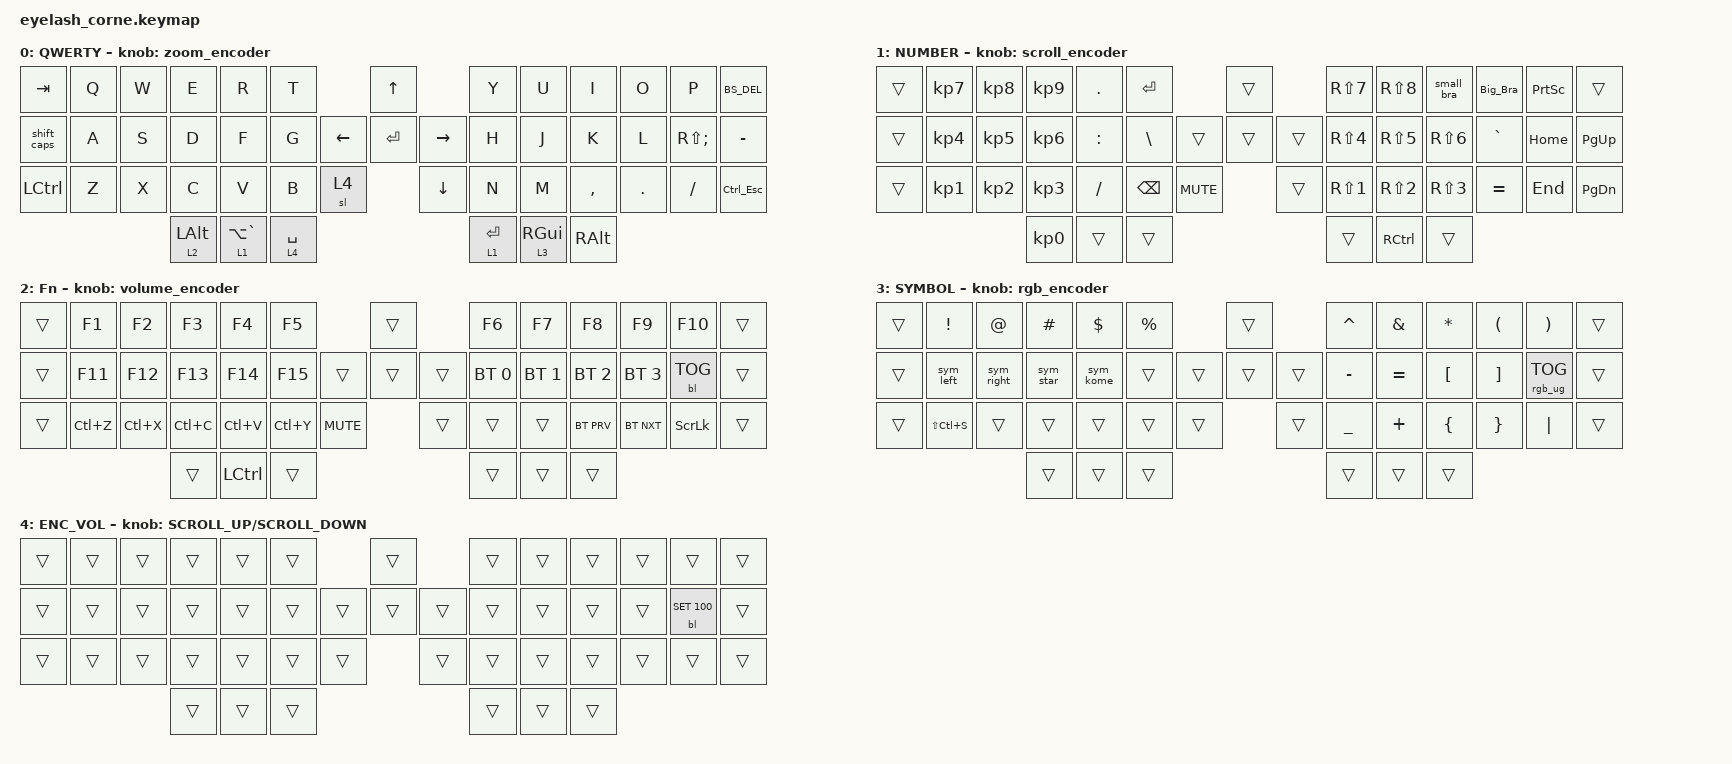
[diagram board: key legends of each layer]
#define ZMK_POINTING_DEFAULT_MOVE_VAL 1200  // 600
#define ZMK_POINTING_DEFAULT_SCRL_VAL 25    // 10

#include <input/processors.dtsi>
#include <zephyr/dt-bindings/input/input-event-codes.h>
#include <behaviors.dtsi>
#include <dt-bindings/zmk/backlight.h>
#include <dt-bindings/zmk/bt.h>
#include <dt-bindings/zmk/keys.h>
#include <dt-bindings/zmk/pointing.h>
#include <dt-bindings/zmk/rgb.h>

&mmv_input_listener { input-processors = <&zip_xy_scaler 2 1>; };

&msc_input_listener { input-processors = <&zip_scroll_scaler 2 1>; };

&msc {
    acceleration-exponent = <1>;
    time-to-max-speed-ms = <100>;
    delay-ms = <0>;
};

&mmv {
    time-to-max-speed-ms = <500>;
    acceleration-exponent = <1>;
    trigger-period-ms = <16>;
};

&soft_off { hold-time-ms = <2000>; };

/ {
    behaviors {
        sym_left: sym_left {
            compatible = "zmk,behavior-macro";
            #binding-cells = <0>;
            wait-ms = <30>;
            tap-ms = <30>;
            bindings
                = <&kp H &kp D &kp Y>
                , <&kp SPACE>
                , <&kp ENTER>;
        };

        sym_right: sym_right {
            compatible = "zmk,behavior-macro";
            #binding-cells = <0>;
            wait-ms = <30>;
            tap-ms = <30>;
            bindings
                = <&kp M &kp G &kp Y>
                , <&kp SPACE>
                , <&kp ENTER>;
        };

        sym_kome: sym_kome {
            compatible = "zmk,behavior-macro";
            #binding-cells = <0>;
            wait-ms = <30>;
            tap-ms = <30>;
            bindings
                = <&kp K &kp M &kp J>
                , <&kp SPACE>
                , <&kp ENTER>;
        };
    
        sym_star: sym_star {
            compatible = "zmk,behavior-macro";
            #binding-cells = <0>;
            wait-ms = <30>;
            tap-ms = <30>;
            bindings
                = <&kp K &kp B &kp S>
                , <&kp SPACE>
                , <&kp ENTER>;
        };

        sym_white_star: sym_white_star {
            compatible = "zmk,behavior-macro";
            #binding-cells = <0>;
            wait-ms = <30>;
            tap-ms = <30>;
            bindings
                = <&kp S &kp B &kp S>
                , <&kp SPACE>
                , <&kp ENTER>;
        };

        sym_white_circle: sym_white_circle {
            compatible = "zmk,behavior-macro";
            #binding-cells = <0>;
            wait-ms = <30>;
            tap-ms = <30>;
            bindings
                = <&kp I &kp M &kp R>
                , <&kp SPACE>
                , <&kp ENTER>;
        };

        sym_double_circle: sym_double_circle {
            compatible = "zmk,behavior-macro";
            #binding-cells = <0>;
            wait-ms = <30>;
            tap-ms = <30>;
            bindings
                = <&kp N &kp M &kp R>
                , <&kp SPACE>
                , <&kp ENTER>;
        };

        sym_black_circle: sym_black_circle {
            compatible = "zmk,behavior-macro";
            #binding-cells = <0>;
            wait-ms = <30>;
            tap-ms = <30>;
            bindings
                = <&kp K &kp M &kp R>
                , <&kp SPACE>
                , <&kp ENTER>;
        };
        shift_caps: shift_caps {
            compatible = "zmk,behavior-tap-dance";
            display-name = "Shift/Caps Lock Tap Dance";
            #binding-cells = <0>;
            bindings = <&kp LEFT_SHIFT>, <&kp CAPS>;

            label = "SHIFT_CAPS";
        };

        zoom_in: zoom_in {
            compatible = "zmk,behavior-macro";
            #binding-cells = <0>;
            bindings = <&kp LC(EQUAL)>;
        };

        zoom_out: zoom_out {
            compatible = "zmk,behavior-macro";
            #binding-cells = <0>;
            bindings = <&kp LC(MINUS)>;
        };

        small_bra: small_bra {
            compatible = "zmk,behavior-macro";
            #binding-cells = <0>;
            bindings = <&kp LEFT_PARENTHESIS &kp RIGHT_PARENTHESIS &kp LEFT>;
            label = "SMALL_BRA";
        };

        Big_Bra: Big_Bra {
            compatible = "zmk,behavior-macro";
            #binding-cells = <0>;
            bindings = <&kp LEFT_BRACKET &kp RIGHT_BRACKET &kp LEFT_ARROW>;
            label = "BIG_BRA";
        };

        zoom_encoder: zoom_encoder {
            compatible = "zmk,behavior-sensor-rotate";
            #sensor-binding-cells = <0>;
            bindings = <&zoom_in>, <&zoom_out>;

            tap-ms = <5>;
        };

        scroll_encoder: scroll_encoder {
            compatible = "zmk,behavior-sensor-rotate";
            #sensor-binding-cells = <0>;
            bindings = <&msc SCRL_UP>, <&msc SCRL_DOWN>;

            tap-ms = <100>;
        };

        volume_encoder: volume_encoder {
            compatible = "zmk,behavior-sensor-rotate";
            #sensor-binding-cells = <0>;
            bindings = <&kp C_VOLUME_UP>, <&kp C_VOL_DN>;

            tap-ms = <5>;
        };

        rgb_encoder: rgb_encoder {
            compatible = "zmk,behavior-sensor-rotate";
            #sensor-binding-cells = <0>;
            bindings = <&rgb_ug RGB_BRI>, <&rgb_ug RGB_BRD>;
        };

        BS_DEL: BS_DEL {
            compatible = "zmk,behavior-tap-dance";
            label = "BS_DEL";
            #binding-cells = <0>;
            bindings = <&kp BACKSPACE>, <&kp DEL>, <&key_repeat>;
        };

        Ctrl_Esc: Ctrl_Esc {
            compatible = "zmk,behavior-tap-dance";
            label = "CTRL_ESC";
            #binding-cells = <0>;
            bindings = <&kp RCTRL>, <&kp ESCAPE>;
        };
    };

    combos {
        compatible = "zmk,combos";

        softoff {
            bindings = <&soft_off>;
            key-positions = <1 15 29>;
        };
    };

    macros {
    };

    keymap {
        compatible = "zmk,keymap";

        default_layer {
            display-name = "QWERTY";
            bindings = <
&kp TAB           &kp Q  &kp W  &kp E           &kp R            &kp T                           &kp UP                &kp Y        &kp U            &kp I      &kp O    &kp P         &BS_DEL
&shift_caps       &kp A  &kp S  &kp D           &kp F            &kp G                 &kp LEFT  &kp ENTER  &kp RIGHT  &kp H        &kp J            &kp K      &kp L    &kp RS(SEMI)  &kp MINUS
&kp LEFT_CONTROL  &kp Z  &kp X  &kp C           &kp V            &kp B        &sl 4              &kp DOWN              &kp N        &kp M            &kp COMMA  &kp DOT  &kp FSLH      &Ctrl_Esc
                                &lt 2 LEFT_ALT  &lt 1 LA(GRAVE)  &lt 4 SPACE                                           &lt 1 ENTER  &lt 3 RIGHT_GUI  &kp RALT
            >;

            sensor-bindings = <&zoom_encoder>;
        };

        lower_layer {
            display-name = "NUMBER";
            bindings = <
&trans  &kp KP_NUMBER_7  &kp KP_NUMBER_8  &kp KP_NUMBER_9  &kp DOT    &kp ENTER                            &trans          &kp RS(N7)        &kp RS(N8)        &small_bra        &Big_Bra   &kp PRINTSCREEN  &trans
&trans  &kp KP_NUMBER_4  &kp KP_NUMBER_5  &kp KP_NUMBER_6  &kp COLON  &kp BACKSLASH                &trans  &trans  &trans  &kp RS(NUMBER_4)  &kp RS(N5)        &kp RS(NUMBER_6)  &kp GRAVE  &kp HOME         &kp PG_UP
&trans  &kp KP_NUMBER_1  &kp KP_NUMBER_2  &kp KP_NUMBER_3  &kp FSLH   &kp BACKSPACE  &kp C_MUTE            &trans          &kp RS(NUMBER_1)  &kp RS(NUMBER_2)  &kp RS(NUMBER_3)  &kp EQUAL  &kp END          &kp PG_DN
                                          &kp KP_NUMBER_0  &trans     &trans                                               &trans            &kp RCTRL         &trans
            >;

            sensor-bindings = <&scroll_encoder>;
        };

        layer_3 {
            display-name = "Fn";
            bindings = <
&trans  &kp F1     &kp F2     &kp F3     &kp F4     &kp F5                           &trans          &kp F6        &kp F7        &kp F8        &kp F9        &kp F10         &trans
&trans  &kp F11    &kp F12    &kp F13    &kp F14    &kp F15                  &trans  &trans  &trans  &bt BT_SEL 0  &bt BT_SEL 1  &bt BT_SEL 2  &bt BT_SEL 3  &bl BL_TOG      &trans
&trans  &kp LC(Z)  &kp LC(X)  &kp LC(C)  &kp LC(V)  &kp LC(Y)  &kp C_MUTE            &trans          &trans        &trans        &bt BT_PRV    &bt BT_NXT    &kp SCROLLLOCK  &trans
                              &trans     &kp LCTRL  &trans                                           &trans        &trans        &trans
            >;

            sensor-bindings = <&volume_encoder>;
        };

        raise_layer {
            display-name = "SYMBOL";
            bindings = <
&trans  &kp EXCL       &kp AT      &kp HASH   &kp DLLR   &kp PRCNT                    &trans          &kp CARET  &kp AMPS   &kp ASTRK  &kp LPAR  &kp RPAR         &trans
&trans  &sym_left      &sym_right  &sym_star  &sym_kome  &trans               &trans  &trans  &trans  &kp MINUS  &kp EQUAL  &kp LBKT   &kp RBKT  &rgb_ug RGB_TOG  &trans
&trans  &kp LS(LC(S))  &trans      &trans     &trans     &trans     &trans            &trans          &kp UNDER  &kp PLUS   &kp LBRC   &kp RBRC  &kp PIPE         &trans
                                   &trans     &trans     &trans                                       &trans     &trans     &trans
            >;

            sensor-bindings = <&rgb_encoder>;
        };

        encoder_vol_layer {
            display-name = "ENC_VOL";
            bindings = <
&trans  &trans  &trans  &trans  &trans  &trans                    &trans          &trans  &trans  &trans  &trans  &trans          &trans
&trans  &trans  &trans  &trans  &trans  &trans            &trans  &trans  &trans  &trans  &trans  &trans  &trans  &bl BL_SET 100  &trans
&trans  &trans  &trans  &trans  &trans  &trans  &trans            &trans          &trans  &trans  &trans  &trans  &trans          &trans
                        &trans  &trans  &trans                                    &trans  &trans  &trans
            >;

            sensor-bindings = <&inc_dec_kp K_SCROLL_UP K_SCROLL_DOWN>;
        };
    };
};
